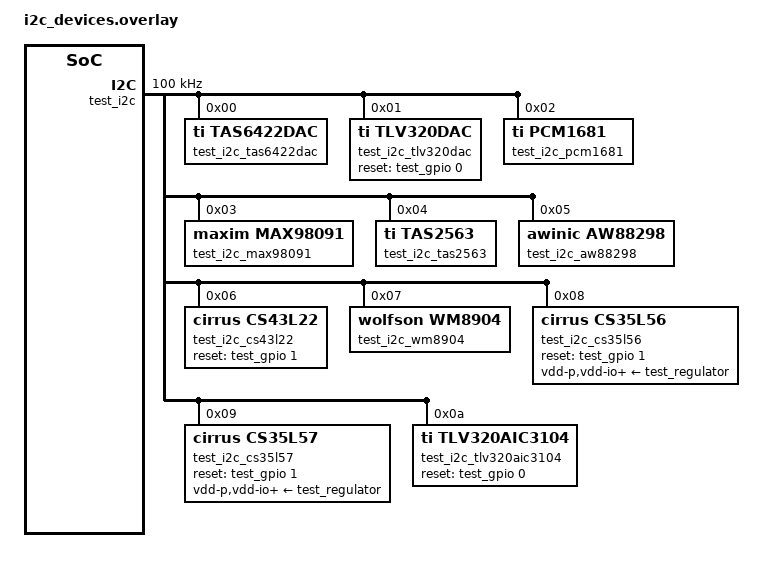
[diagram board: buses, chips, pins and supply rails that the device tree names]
/*
 * Copyright (c) 2024 TOKITA Hiroshi
 * SPDX-License-Identifier: Apache-2.0
 */

/ {
	test {
		#address-cells = <1>;
		#size-cells = <1>;

		test_gpio: gpio@deadbeef {
			compatible = "vnd,gpio";
			gpio-controller;
			reg = <0xdeadbeef 0x1000>;
			#gpio-cells = <0x2>;
			status = "okay";
		};

		test_regulator: regulator {
			compatible = "zephyr,fake-regulator";

			reg0: REG0 {};
		};

		test_i2c: i2c@11112222 {
			#address-cells = <1>;
			#size-cells = <0>;
			compatible = "vnd,i2c";
			reg = <0x11112222 0x1000>;
			status = "okay";
			clock-frequency = <100000>;

			test_i2c_tas6422dac: tas6422dac@0 {
				compatible = "ti,tas6422dac";
				status = "okay";
				reg = <0x0>;
			};

			test_i2c_tlv320dac: tlv320dac@1 {
				compatible = "ti,tlv320dac";
				status = "okay";
				reg = <0x1>;
				reset-gpios = <&test_gpio 0 0>;
			};

			test_i2c_pcm1681: pcm1681@2 {
				compatible = "ti,pcm1681";
				status = "okay";
				reg = <0x2>;
			};

			test_i2c_max98091: max98091@3 {
				compatible = "maxim,max98091";
				status = "okay";
				reg = <0x3>;
				mclk-frequency = <13000000>;
			};

			test_i2c_tas2563: tas2563@4 {
				compatible = "ti,tas2563";
				reg = <0x4>;
				status = "okay";
			};

			test_i2c_aw88298: aw88298@5 {
				compatible = "awinic,aw88298";
				status = "okay";
				reg = <0x5>;
			};

			test_i2c_cs43l22: cs43l22@6 {
				compatible = "cirrus,cs43l22";
				status = "okay";
				reg = <0x6>;
				reset-gpios = <&test_gpio 1 0>;
			};

			test_i2c_wm8904: wm8904@7 {
				compatible = "wolfson,wm8904";
				status = "okay";
				reg = <0x7>;
			};

			test_i2c_cs35l56: cs35l56@8 {
				compatible = "cirrus,cs35l56";
				reg = <0x8>;
				status = "okay";
				reset-gpios = <&test_gpio 1 0>;
				vdd-p-supply = <&test_regulator>;
				vdd-io-supply = <&test_regulator>;
				vdd-a-supply = <&test_regulator>;
				vdd-b-supply = <&test_regulator>;
				vdd-amp-supply = <&test_regulator>;
			};

			test_i2c_cs35l57: cs35l57@9 {
				compatible = "cirrus,cs35l57";
				reg = <0x9>;
				status = "okay";
				reset-gpios = <&test_gpio 1 0>;
				vdd-p-supply = <&test_regulator>;
				vdd-io-supply = <&test_regulator>;
				vdd-a-supply = <&test_regulator>;
				vdd-b-supply = <&test_regulator>;
				vdd-amp-supply = <&test_regulator>;
			};

			test_i2c_tlv320aic3104: tlv320aic3104@a {
				compatible = "ti,tlv320aic3104";
				status = "okay";
				reg = <0xa>;
				reset-gpios = <&test_gpio 0 0>;
			};
		};
	};
};
